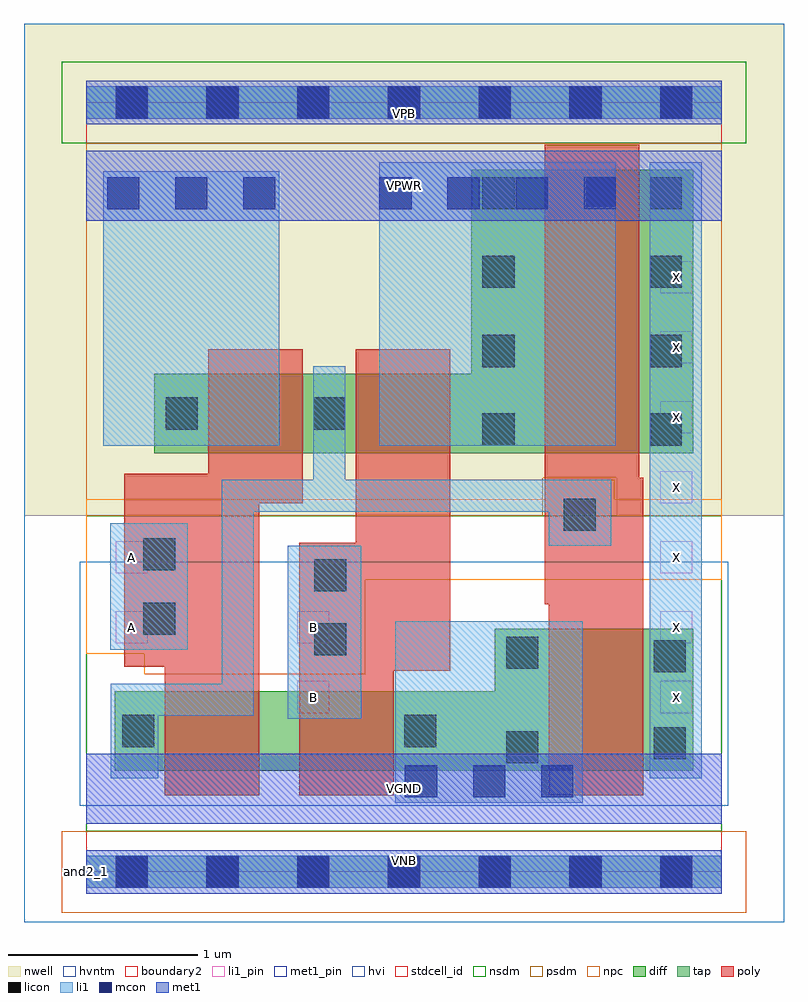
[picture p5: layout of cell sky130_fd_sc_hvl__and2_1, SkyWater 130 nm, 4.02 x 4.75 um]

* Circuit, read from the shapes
.subckt sky130_fd_sc_hvl__and2_1 A B VGND VNB VPB VPWR X
XM1 n1 A n2 VNB sky130_fd_pr__nfet_g5v0d10v5 w=0.42 l=0.5
XM2 VGND B n1 VNB sky130_fd_pr__nfet_g5v0d10v5 w=0.42 l=0.5
XM3 X n2 VGND VNB sky130_fd_pr__nfet_g5v0d10v5 w=0.75 l=0.5
XM4 n2 A VPWR VPB sky130_fd_pr__pfet_g5v0d10v5 w=0.42 l=0.5
XM5 VPWR B n2 VPB sky130_fd_pr__pfet_g5v0d10v5 w=0.42 l=0.5
XM6 X n2 VPWR VPB sky130_fd_pr__pfet_g5v0d10v5 w=1.5 l=0.5
.ends

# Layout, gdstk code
import gdstk
lib = gdstk.Library(unit=1e-6, precision=1e-09)
def R(c, l, rs):  # rectangles x0, y0, x1, y1
    for r in rs: c.add(gdstk.rectangle(r[:2], r[2:], *l))
def A(c, l, x, y, w, h, nx, ny, dx, dy):  # array of equal rectangles
    R(c, l, [(x+i*dx, y+j*dy, x+i*dx+w, y+j*dy+h) for i in range(nx) for j in range(ny)])
def P(c, l, *ps):  # polygons
    for p in ps: c.add(gdstk.Polygon(p, *l))
nwell = (64, 20)
diff = (65, 20)
tap = (65, 44)
poly = (66, 20)
licon = (66, 44)
li1_pin = (67, 16)
li1 = (67, 20)
mcon = (67, 44)
met1_pin = (68, 16)
met1 = (68, 20)
hvi = (75, 20)
stdcell_id = (81, 4)
nsdm = (93, 44)
psdm = (94, 20)
npc = (95, 20)
hvntm = (125, 20)
boundary2 = (236, 0)

sky130_fd_sc_hvl__and2_1 = lib.new_cell('sky130_fd_sc_hvl__and2_1')
R(sky130_fd_sc_hvl__and2_1, nwell, [(-0.33,1.885,3.69,4.485)])
P(sky130_fd_sc_hvl__and2_1, diff, [(0.36,2.215),(0.36,2.635),(2.035,2.635),(2.035,3.715),(3.21,3.715),(3.21,2.215)],
  [(0.15,0.535),(0.15,0.955),(2.16,0.955),(2.16,1.285),(3.21,1.285),(3.21,0.535)])
R(sky130_fd_sc_hvl__and2_1, tap, [(0,-0.085,3.36,0.085), (0,3.985,3.36,4.155)])
P(sky130_fd_sc_hvl__and2_1, poly, [(0.415,0.405),(0.415,1.085),(0.2,1.085),(0.2,2.105),(0.645,2.105),(0.645,2.765),(1.145,2.765),(1.145,1.95),(0.915,1.95),(0.915,0.405)],
  [(1.125,0.405),(1.125,1.74),(1.425,1.74),(1.425,2.765),(1.925,2.765),(1.925,1.065),(1.625,1.065),(1.625,0.405)],
  [(2.445,0.405),(2.445,1.415),(2.425,1.415),(2.425,3.845),(2.925,3.845),(2.925,2.085),(2.945,2.085),(2.945,0.405)])
A(sky130_fd_sc_hvl__and2_1, licon, 0.155, -0.085, 0.17, 0.17, 7, 2, 0.48, 4.07)
R(sky130_fd_sc_hvl__and2_1, licon, [(2.22,0.575,2.39,0.745), (3,0.595,3.17,0.765), (0.19,0.66,0.36,0.83), (1.68,0.66,1.85,0.83), (3,1.055,3.17,1.225), (2.22,1.075,2.39,1.245), (1.205,1.145,1.375,1.315), (0.3,1.255,0.47,1.425), (1.205,1.485,1.375,1.655), (0.3,1.595,0.47,1.765), (2.525,1.805,2.695,1.975), (2.095,2.255,2.265,2.425), (2.98,2.255,3.15,2.425), (0.42,2.34,0.59,2.51), (1.2,2.34,1.37,2.51), (2.095,2.67,2.265,2.84), (2.98,2.67,3.15,2.84), (2.095,3.09,2.265,3.26), (2.98,3.09,3.15,3.26), (2.095,3.505,2.265,3.675), (2.98,3.505,3.15,3.675)])
A(sky130_fd_sc_hvl__and2_1, li1_pin, 3.035, 0.84, 0.17, 0.17, 1, 7, 0, 0.37)
R(sky130_fd_sc_hvl__and2_1, li1_pin, [(1.115,0.84,1.285,1.01), (0.155,1.21,0.325,1.38), (1.115,1.21,1.285,1.38), (0.155,1.58,0.325,1.75)])
R(sky130_fd_sc_hvl__and2_1, li1, [(0,-0.085,3.36,0.085), (1.635,0.365,2.625,1.325), (2.98,0.495,3.255,3.755), (1.065,0.81,1.455,1.725), (0.125,1.175,0.535,1.845), (0.09,2.255,1.02,3.705), (1.55,2.255,2.8,3.755), (0,3.985,3.36,4.155)])
P(sky130_fd_sc_hvl__and2_1, li1, [(0.13,0.495),(0.13,0.995),(0.715,0.995),(0.715,2.075),(1.2,2.075),(1.2,2.675),(1.37,2.675),(1.37,2.075),(2.775,2.075),(2.775,1.725),(2.445,1.725),(2.445,1.905),(0.885,1.905),(0.885,0.825),(0.38,0.825),(0.38,0.495)])
A(sky130_fd_sc_hvl__and2_1, mcon, 1.685, 0.395, 0.17, 0.17, 3, 1, 0.36, 0)
A(sky130_fd_sc_hvl__and2_1, mcon, 0.11, 3.505, 0.17, 0.17, 3, 1, 0.36, 0)
A(sky130_fd_sc_hvl__and2_1, mcon, 1.55, 3.505, 0.17, 0.17, 4, 1, 0.36, 0)
R(sky130_fd_sc_hvl__and2_1, mcon, [(0.155,-0.085,0.325,0.085), (0.155,-0.085,0.325,0.085), (0.635,-0.085,0.805,0.085), (0.635,-0.085,0.805,0.085), (1.115,-0.085,1.285,0.085), (1.115,-0.085,1.285,0.085), (1.595,-0.085,1.765,0.085), (1.595,-0.085,1.765,0.085), (2.075,-0.085,2.245,0.085), (2.075,-0.085,2.245,0.085), (2.555,-0.085,2.725,0.085), (2.555,-0.085,2.725,0.085), (3.035,-0.085,3.205,0.085), (3.035,-0.085,3.205,0.085), (0.155,3.985,0.325,4.155), (0.155,3.985,0.325,4.155), (0.635,3.985,0.805,4.155), (0.635,3.985,0.805,4.155), (1.115,3.985,1.285,4.155), (1.115,3.985,1.285,4.155), (1.595,3.985,1.765,4.155), (1.595,3.985,1.765,4.155), (2.075,3.985,2.245,4.155), (2.075,3.985,2.245,4.155), (2.555,3.985,2.725,4.155), (2.555,3.985,2.725,4.155), (3.035,3.985,3.205,4.155), (3.035,3.985,3.205,4.155)])
R(sky130_fd_sc_hvl__and2_1, met1_pin, [(0,0,3.36,0.115), (0,0.255,3.36,0.625), (0,3.445,3.36,3.815), (0,3.955,3.36,4.07)])
R(sky130_fd_sc_hvl__and2_1, met1, [(0,-0.115,3.36,0.115), (0,0.255,3.36,0.625), (0,3.445,3.36,3.815), (0,3.955,3.36,4.185)])
R(sky130_fd_sc_hvl__and2_1, hvi, [(-0.33,-0.265,3.69,4.485)])
R(sky130_fd_sc_hvl__and2_1, stdcell_id, [(0,0,3.36,4.07)])
R(sky130_fd_sc_hvl__and2_1, nsdm, [(0,0.215,3.36,1.885), (-0.13,3.855,3.49,4.285), (0,3.855,3.36,4.07)])
R(sky130_fd_sc_hvl__and2_1, psdm, [(-0.13,-0.215,3.49,0.215)])
P(sky130_fd_sc_hvl__and2_1, psdm, [(0,1.885),(0,3.855),(3.36,3.855),(3.36,1.885),(2.805,1.885),(2.805,2.085),(2.415,2.085),(2.415,1.885)])
P(sky130_fd_sc_hvl__and2_1, npc, [(0.305,1.045),(0.305,1.155),(0,1.155),(0,1.97),(2.425,1.97),(2.425,2.075),(2.795,2.075),(2.795,1.97),(3.36,1.97),(3.36,1.545),(1.475,1.545),(1.475,1.045)])
R(sky130_fd_sc_hvl__and2_1, hvntm, [(-0.035,0.35,3.395,1.64)])
R(sky130_fd_sc_hvl__and2_1, boundary2, [(0,0,3.36,4.07)])
sky130_fd_sc_hvl__and2_1.add(gdstk.Label('and2_1', (0,0), layer=83, texttype=44))
sky130_fd_sc_hvl__and2_1.add(gdstk.Label('VGND', (1.68,0.44), layer=68, texttype=5))
sky130_fd_sc_hvl__and2_1.add(gdstk.Label('VNB', (1.68,0.058), layer=68, texttype=5))
sky130_fd_sc_hvl__and2_1.add(gdstk.Label('VPWR', (1.68,3.63), layer=68, texttype=5))
sky130_fd_sc_hvl__and2_1.add(gdstk.Label('VPB', (1.68,4.013), layer=68, texttype=5))
sky130_fd_sc_hvl__and2_1.add(gdstk.Label('A', (0.24,1.295), layer=67, texttype=5))
sky130_fd_sc_hvl__and2_1.add(gdstk.Label('A', (0.24,1.665), layer=67, texttype=5))
sky130_fd_sc_hvl__and2_1.add(gdstk.Label('B', (1.2,0.925), layer=67, texttype=5))
sky130_fd_sc_hvl__and2_1.add(gdstk.Label('B', (1.2,1.295), layer=67, texttype=5))
sky130_fd_sc_hvl__and2_1.add(gdstk.Label('X', (3.12,0.925), layer=67, texttype=5))
sky130_fd_sc_hvl__and2_1.add(gdstk.Label('X', (3.12,1.295), layer=67, texttype=5))
sky130_fd_sc_hvl__and2_1.add(gdstk.Label('X', (3.12,1.665), layer=67, texttype=5))
sky130_fd_sc_hvl__and2_1.add(gdstk.Label('X', (3.12,2.035), layer=67, texttype=5))
sky130_fd_sc_hvl__and2_1.add(gdstk.Label('X', (3.12,2.405), layer=67, texttype=5))
sky130_fd_sc_hvl__and2_1.add(gdstk.Label('X', (3.12,2.775), layer=67, texttype=5))
sky130_fd_sc_hvl__and2_1.add(gdstk.Label('X', (3.12,3.145), layer=67, texttype=5))

lib.write_gds('sky130_fd_sc_hvl__and2_1.gds')
